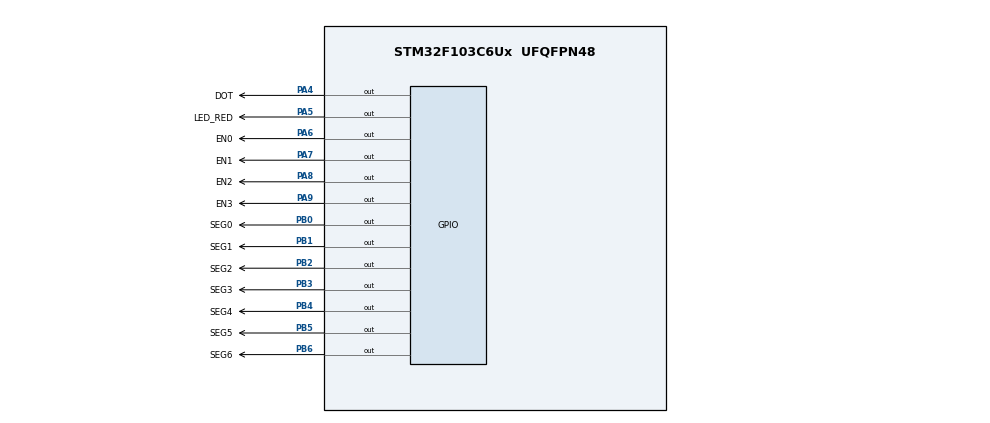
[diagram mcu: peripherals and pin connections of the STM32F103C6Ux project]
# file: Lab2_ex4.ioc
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Mcu.Family=STM32F1
Mcu.Name=STM32F103C6Ux
Mcu.Package=UFQFPN48
NVIC.PriorityGroup=NVIC_PRIORITYGROUP_4
NVIC.TIM2_IRQn=true\:0\:0\:false\:false\:true\:true\:true
PA4.GPIO_Label=DOT
PA4.Signal=GPIO_Output
PA5.GPIO_Label=LED_RED
PA5.Signal=GPIO_Output
PA6.GPIO_Label=EN0
PA6.Signal=GPIO_Output
PA7.GPIO_Label=EN1
PA7.Signal=GPIO_Output
PA8.GPIO_Label=EN2
PA8.Signal=GPIO_Output
PA9.GPIO_Label=EN3
PA9.Signal=GPIO_Output
PB0.GPIO_Label=SEG0
PB0.Signal=GPIO_Output
PB1.GPIO_Label=SEG1
PB1.Signal=GPIO_Output
PB2.GPIO_Label=SEG2
PB2.Signal=GPIO_Output
PB3.GPIO_Label=SEG3
PB3.Signal=GPIO_Output
PB4.GPIO_Label=SEG4
PB4.Signal=GPIO_Output
PB5.GPIO_Label=SEG5
PB5.Signal=GPIO_Output
PB6.GPIO_Label=SEG6
PB6.Signal=GPIO_Output
ProjectManager.HeapSize=0x200
ProjectManager.StackSize=0x400
ProjectManager.TargetToolchain=STM32CubeIDE
RCC.APB1Freq_Value=8000000
RCC.APB2Freq_Value=8000000
TIM2.Period=9
TIM2.Prescaler=7999
VP_SYS_VS_ND.Mode=No_Debug
VP_TIM2_VS_ClockSourceINT.Mode=Internal
board=custom

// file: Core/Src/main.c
/* USER CODE BEGIN Header */
/**
  ******************************************************************************
  * @file           : main.c
  * @brief          : Main program body
  ******************************************************************************
  * @attention
  *
  * <h2><center>&copy; Copyright (c) 2023 STMicroelectronics.
  * All rights reserved.</center></h2>
  *
  * This software component is licensed by ST under BSD 3-Clause license,
  * the "License"; You may not use this file except in compliance with the
  * License. You may obtain a copy of the License at:
  *                        opensource.org/licenses/BSD-3-Clause
  *
  ******************************************************************************
  */
/* USER CODE END Header */
#include "main.h"

/* USER CODE BEGIN Includes */
#include "7SEG.h"
#include "InitState.h"
#include "update7SEG.h"
#include "updateClockBuffer.h"
/* USER CODE END Includes */

TIM_HandleTypeDef htim2;

void SystemClock_Config(void);
static void MX_GPIO_Init(void);
static void MX_TIM2_Init(void);

/* USER CODE BEGIN 0 */
int hour = 15, minute = 8, second = 50;
void updateClockBuffer()
{
	led_buffer[0] = hour/10;
	led_buffer[1] = hour%10;
	led_buffer[2] = minute/10;
	led_buffer[3] = minute%10;
}

/* USER CODE END 0 */

int main(void)
{

  /* MCU Configuration--------------------------------------------------------*/

  /* Reset of all peripherals, Initializes the Flash interface and the Systick. */
  HAL_Init();

  /* Configure the system clock */
  SystemClock_Config();

  /* Initialize all configured peripherals */
  MX_GPIO_Init();
  MX_TIM2_Init();
  /* USER CODE BEGIN 2 */
  HAL_TIM_Base_Start_IT(&htim2);
  initState();
  /* USER CODE END 2 */

  /* Infinite loop */
  /* USER CODE BEGIN WHILE */
  while (1)
  {
	  second++;
	  if(second >= 60){
		  second = 0;
		  minute++;
	  }
	  if(minute >= 60){
		  minute = 0;
		  hour++;
	  }
	  if(hour >= 24)
	  {
		  hour = 0;
	  }
	  updateClockBuffer();
	  HAL_Delay(1000);
    /* USER CODE END WHILE */

  }
}

void SystemClock_Config(void)
{
  RCC_OscInitTypeDef RCC_OscInitStruct = {0};
  RCC_ClkInitTypeDef RCC_ClkInitStruct = {0};

  /** Initializes the RCC Oscillators according to the specified parameters
  * in the RCC_OscInitTypeDef structure.
  */
  RCC_OscInitStruct.OscillatorType = RCC_OSCILLATORTYPE_HSI;
  RCC_OscInitStruct.HSIState = RCC_HSI_ON;
  RCC_OscInitStruct.HSICalibrationValue = RCC_HSICALIBRATION_DEFAULT;
  RCC_OscInitStruct.PLL.PLLState = RCC_PLL_NONE;
  if (HAL_RCC_OscConfig(&RCC_OscInitStruct) != HAL_OK)
  {
    Error_Handler();
  }
  /** Initializes the CPU, AHB and APB buses clocks
  */
  RCC_ClkInitStruct.ClockType = RCC_CLOCKTYPE_HCLK|RCC_CLOCKTYPE_SYSCLK
                              |RCC_CLOCKTYPE_PCLK1|RCC_CLOCKTYPE_PCLK2;
  RCC_ClkInitStruct.SYSCLKSource = RCC_SYSCLKSOURCE_HSI;
  RCC_ClkInitStruct.AHBCLKDivider = RCC_SYSCLK_DIV1;
  RCC_ClkInitStruct.APB1CLKDivider = RCC_HCLK_DIV1;
  RCC_ClkInitStruct.APB2CLKDivider = RCC_HCLK_DIV1;

  if (HAL_RCC_ClockConfig(&RCC_ClkInitStruct, FLASH_LATENCY_0) != HAL_OK)
  {
    Error_Handler();
  }
}

static void MX_TIM2_Init(void)
{

  TIM_ClockConfigTypeDef sClockSourceConfig = {0};
  TIM_MasterConfigTypeDef sMasterConfig = {0};

  htim2.Instance = TIM2;
  htim2.Init.Prescaler = 7999;
  htim2.Init.CounterMode = TIM_COUNTERMODE_UP;
  htim2.Init.Period = 9;
  htim2.Init.ClockDivision = TIM_CLOCKDIVISION_DIV1;
  htim2.Init.AutoReloadPreload = TIM_AUTORELOAD_PRELOAD_DISABLE;
  if (HAL_TIM_Base_Init(&htim2) != HAL_OK)
  {
    Error_Handler();
  }
  sClockSourceConfig.ClockSource = TIM_CLOCKSOURCE_INTERNAL;
  if (HAL_TIM_ConfigClockSource(&htim2, &sClockSourceConfig) != HAL_OK)
  {
    Error_Handler();
  }
  sMasterConfig.MasterOutputTrigger = TIM_TRGO_RESET;
  sMasterConfig.MasterSlaveMode = TIM_MASTERSLAVEMODE_DISABLE;
  if (HAL_TIMEx_MasterConfigSynchronization(&htim2, &sMasterConfig) != HAL_OK)
  {
    Error_Handler();
  }

}

static void MX_GPIO_Init(void)
{
  GPIO_InitTypeDef GPIO_InitStruct = {0};

  /* GPIO Ports Clock Enable */
  __HAL_RCC_GPIOA_CLK_ENABLE();
  __HAL_RCC_GPIOB_CLK_ENABLE();

  /*Configure GPIO pin Output Level */
  HAL_GPIO_WritePin(GPIOA, DOT_Pin|LED_RED_Pin|EN0_Pin|EN1_Pin
                          |EN2_Pin|EN3_Pin, GPIO_PIN_RESET);

  /*Configure GPIO pin Output Level */
  HAL_GPIO_WritePin(GPIOB, SEG0_Pin|SEG1_Pin|SEG2_Pin|SEG3_Pin
                          |SEG4_Pin|SEG5_Pin|SEG6_Pin, GPIO_PIN_RESET);

  /*Configure GPIO pins : DOT_Pin LED_RED_Pin EN0_Pin EN1_Pin
                           EN2_Pin EN3_Pin */
  GPIO_InitStruct.Pin = DOT_Pin|LED_RED_Pin|EN0_Pin|EN1_Pin
                          |EN2_Pin|EN3_Pin;
  GPIO_InitStruct.Mode = GPIO_MODE_OUTPUT_PP;
  GPIO_InitStruct.Pull = GPIO_NOPULL;
  GPIO_InitStruct.Speed = GPIO_SPEED_FREQ_LOW;
  HAL_GPIO_Init(GPIOA, &GPIO_InitStruct);

  /*Configure GPIO pins : SEG0_Pin SEG1_Pin SEG2_Pin SEG3_Pin
                           SEG4_Pin SEG5_Pin SEG6_Pin */
  GPIO_InitStruct.Pin = SEG0_Pin|SEG1_Pin|SEG2_Pin|SEG3_Pin
                          |SEG4_Pin|SEG5_Pin|SEG6_Pin;
  GPIO_InitStruct.Mode = GPIO_MODE_OUTPUT_PP;
  GPIO_InitStruct.Pull = GPIO_NOPULL;
  GPIO_InitStruct.Speed = GPIO_SPEED_FREQ_LOW;
  HAL_GPIO_Init(GPIOB, &GPIO_InitStruct);

}

/* USER CODE BEGIN 4 */
int counter = 100;
void HAL_TIM_PeriodElapsedCallback(TIM_HandleTypeDef *htim)
{
	counter--;
	if(counter <= 0)
	{
		counter = 100;
		update7SEG(index_led++);
		index_led = 0;
		HAL_GPIO_TogglePin(LED_RED_GPIO_Port, LED_RED_Pin);
		HAL_GPIO_TogglePin(DOT_GPIO_Port, DOT_Pin);
	}
	if(counter == 75)
	{
		update7SEG(index_led++);
	}
	if(counter == 50)
	{
		update7SEG(index_led++);
	}
	if(counter == 25)
	{
		update7SEG(index_led++);
	}
}
/* USER CODE END 4 */

void Error_Handler(void)
{
  __disable_irq();
  while (1)
  {
  }
}

/************************ (C) COPYRIGHT STMicroelectronics *****END OF FILE****/
